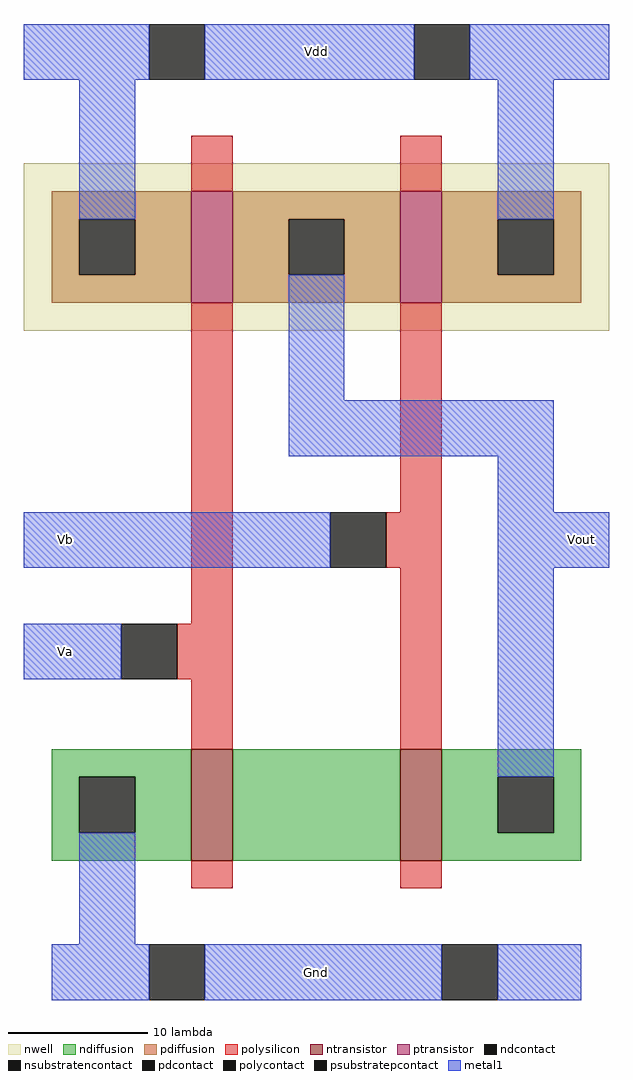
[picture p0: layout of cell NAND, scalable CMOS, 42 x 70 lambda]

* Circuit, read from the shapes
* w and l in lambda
.subckt NAND Gnd Va Vb Vdd Vout
M1 n1 Va Gnd Gnd nfet w=8 l=3
M2 Vout Vb n1 Gnd nfet w=8 l=3
M3 Vout Va Vdd n2 pfet w=8 l=3
M4 Vdd Vb Vout n2 pfet w=8 l=3
.ends

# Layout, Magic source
magic
tech scmos
<< nwell >>
rect -26 34 16 46
<< polysilicon >>
rect -14 44 -11 48
rect 1 44 4 48
rect -14 13 -11 36
rect 1 21 4 36
rect 0 17 4 21
rect -15 9 -11 13
rect -14 4 -11 9
rect 1 4 4 17
rect -14 -6 -11 -4
rect 1 -6 4 -4
<< ndiffusion >>
rect -24 2 -14 4
rect -24 -2 -22 2
rect -18 -2 -14 2
rect -24 -4 -14 -2
rect -11 -4 1 4
rect 4 2 14 4
rect 4 -2 8 2
rect 12 -2 14 2
rect 4 -4 14 -2
<< pdiffusion >>
rect -24 42 -14 44
rect -24 38 -22 42
rect -18 38 -14 42
rect -24 36 -14 38
rect -11 42 1 44
rect -11 38 -7 42
rect -3 38 1 42
rect -11 36 1 38
rect 4 42 14 44
rect 4 38 8 42
rect 12 38 14 42
rect 4 36 14 38
<< metal1 >>
rect -26 52 -17 56
rect -13 52 2 56
rect 6 52 16 56
rect -22 42 -18 52
rect 8 42 12 52
rect -7 29 -3 38
rect -7 25 12 29
rect 8 21 12 25
rect -26 17 -4 21
rect 8 17 16 21
rect -26 9 -19 13
rect 8 2 12 17
rect -22 -10 -18 -2
rect -24 -14 -17 -10
rect -13 -14 4 -10
rect 8 -14 14 -10
<< ntransistor >>
rect -14 -4 -11 4
rect 1 -4 4 4
<< ptransistor >>
rect -14 36 -11 44
rect 1 36 4 44
<< polycontact >>
rect -4 17 0 21
rect -19 9 -15 13
<< ndcontact >>
rect -22 -2 -18 2
rect 8 -2 12 2
<< pdcontact >>
rect -22 38 -18 42
rect -7 38 -3 42
rect 8 38 12 42
<< psubstratepcontact >>
rect -17 -14 -13 -10
rect 4 -14 8 -10
<< nsubstratencontact >>
rect -17 52 -13 56
rect 2 52 6 56
<< labels >>
rlabel metal1 -23 19 -23 19 3 Vb
rlabel metal1 -23 11 -23 11 3 Va
rlabel metal1 14 19 14 19 7 Vout
rlabel metal1 -5 54 -5 54 5 Vdd
rlabel metal1 -5 -12 -5 -12 1 Gnd
<< end >>
